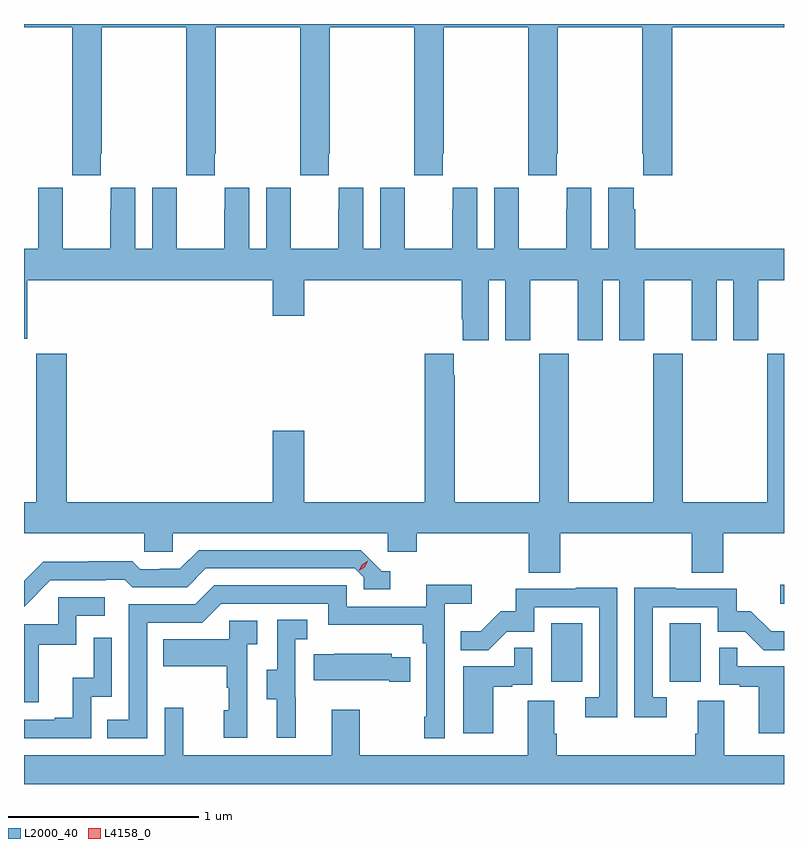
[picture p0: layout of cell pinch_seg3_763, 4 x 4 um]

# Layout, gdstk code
import gdstk
lib = gdstk.Library(unit=1e-6, precision=1e-09)
def R(c, l, rs):  # rectangles x0, y0, x1, y1
    for r in rs: c.add(gdstk.rectangle(r[:2], r[2:], *l))
def P(c, l, *ps):  # polygons
    for p in ps: c.add(gdstk.Polygon(p, *l))
L2000_40 = (2000, 40)
L4158_0 = (4158, 0)

pinch_seg3_763 = lib.new_cell('pinch_seg3_763')
R(pinch_seg3_763, L2000_40, [(813.824,742.758,813.988,743.065), (814.448,742.758,814.612,743.065), (815.031,743.168,815.05,743.27)])
P(pinch_seg3_763, L2000_40, [(813.103,745.537),(813.105,745.537),(813.105,745.425),(813.255,745.425),(813.255,745.537),(813.258,745.537),(813.258,746.204),(813.703,746.204),(813.703,745.537),(813.705,745.537),(813.705,745.425),(813.855,745.425),(813.855,745.537),(813.858,745.537),(813.858,746.204),(814.303,746.204),(814.303,745.537),(814.309,745.537),(814.309,745.425),(814.463,745.425),(814.463,746.204),(815.05,746.204),(815.05,746.22),(811.05,746.22),(811.05,746.204),(811.303,746.204),(811.303,745.537),(811.305,745.537),(811.305,745.425),(811.455,745.425),(811.455,745.537),(811.458,745.537),(811.458,746.204),(811.903,746.204),(811.903,745.537),(811.905,745.537),(811.905,745.425),(812.055,745.425),(812.055,745.537),(812.058,745.537),(812.058,746.204),(812.503,746.204),(812.503,745.537),(812.505,745.537),(812.505,745.425),(812.655,745.425),(812.655,745.537),(812.658,745.537),(812.658,746.204),(813.103,746.204)],
  [(813.496,744.872),(813.584,744.872),(813.584,744.555),(813.715,744.555),(813.715,744.872),(813.965,744.872),(813.965,744.555),(814.096,744.555),(814.096,744.872),(814.184,744.872),(814.184,744.555),(814.315,744.555),(814.315,744.872),(814.565,744.872),(814.565,744.555),(814.696,744.555),(814.696,744.872),(814.784,744.872),(814.784,744.555),(814.915,744.555),(814.915,744.872),(815.05,744.872),(815.05,745.036),(814.268,745.036),(814.268,745.244),(814.258,745.244),(814.258,745.357),(814.124,745.357),(814.124,745.036),(814.036,745.036),(814.036,745.357),(813.906,745.357),(813.906,745.244),(813.905,745.244),(813.905,745.036),(813.655,745.036),(813.655,745.244),(813.654,745.244),(813.654,745.357),(813.524,745.357),(813.524,745.036),(813.436,745.036),(813.436,745.357),(813.306,745.357),(813.306,745.244),(813.305,745.244),(813.305,745.036),(813.055,745.036),(813.055,745.244),(813.054,745.244),(813.054,745.357),(812.924,745.357),(812.924,745.036),(812.836,745.036),(812.836,745.357),(812.706,745.357),(812.706,745.244),(812.705,745.244),(812.705,745.036),(812.455,745.036),(812.455,745.244),(812.454,745.244),(812.454,745.357),(812.324,745.357),(812.324,745.036),(812.236,745.036),(812.236,745.357),(812.106,745.357),(812.106,745.244),(812.105,745.244),(812.105,745.036),(811.855,745.036),(811.855,745.244),(811.854,745.244),(811.854,745.357),(811.724,745.357),(811.724,745.036),(811.636,745.036),(811.636,745.357),(811.506,745.357),(811.506,745.244),(811.505,745.244),(811.505,745.036),(811.255,745.036),(811.255,745.244),(811.254,745.244),(811.254,745.357),(811.124,745.357),(811.124,745.036),(811.05,745.036),(811.05,744.563),(811.066,744.563),(811.066,744.872),(812.36,744.872),(812.36,744.684),(812.524,744.684),(812.524,744.872),(813.353,744.872),(813.353,744.667),(813.359,744.667),(813.359,744.555),(813.496,744.555)],
  [(813.872,743.54),(814.565,743.54),(814.565,743.332),(814.73,743.332),(814.73,743.54),(815.05,743.54),(815.05,744.484),(814.963,744.484),(814.963,743.704),(814.518,743.704),(814.518,744.484),(814.363,744.484),(814.363,743.704),(813.918,743.704),(813.918,744.484),(813.763,744.484),(813.763,743.704),(813.318,743.704),(813.318,744.371),(813.313,744.371),(813.313,744.484),(813.158,744.484),(813.158,743.704),(812.524,743.704),(812.524,744.079),(812.36,744.079),(812.36,743.704),(811.274,743.704),(811.274,744.484),(811.114,744.484),(811.114,743.704),(811.05,743.704),(811.05,743.54),(811.683,743.54),(811.683,743.442),(811.833,743.442),(811.833,743.54),(812.964,743.54),(812.964,743.442),(813.116,743.442),(813.116,743.54),(813.707,743.54),(813.707,743.332),(813.872,743.332)],
  [(811.188,743.292),(811.481,743.292),(811.481,743.295),(811.58,743.295),(811.619,743.256),(811.908,743.256),(812.007,743.355),(812.79,743.355),(812.838,743.307),(812.838,743.244),(812.977,743.244),(812.977,743.34),(812.934,743.34),(812.823,743.451),(811.97,743.451),(811.871,743.352),(811.764,743.352),(811.764,743.349),(811.661,743.349),(811.619,743.392),(811.386,743.392),(811.386,743.389),(811.15,743.389),(811.05,743.289),(811.05,743.154)],
  [(811.698,743.07),(811.989,743.07),(812.088,743.169),(812.652,743.169),(812.652,743.057),(813.148,743.057),(813.148,742.961),(813.168,742.961),(813.168,742.573),(813.156,742.573),(813.156,742.461),(813.264,742.461),(813.264,743.168),(813.406,743.168),(813.406,743.27),(813.167,743.27),(813.167,743.154),(812.748,743.154),(812.748,743.265),(812.051,743.265),(811.952,743.166),(811.602,743.166),(811.602,742.557),(811.489,742.557),(811.489,742.461),(811.698,742.461)],
  [(814.432,742.677),(814.359,742.677),(814.359,743.151),(814.701,743.151),(814.701,743.022),(814.845,743.022),(814.943,742.924),(815.05,742.924),(815.05,743.023),(814.983,743.023),(814.876,743.13),(814.8,743.13),(814.8,743.247),(814.481,743.247),(814.481,743.252),(814.263,743.252),(814.263,742.572),(814.432,742.572)],
  [(814.173,743.252),(813.955,743.252),(813.955,743.247),(813.637,743.247),(813.637,743.13),(813.56,743.13),(813.453,743.023),(813.349,743.023),(813.349,742.924),(813.493,742.924),(813.591,743.022),(813.735,743.022),(813.735,743.151),(814.077,743.151),(814.077,742.677),(814.005,742.677),(814.005,742.572),(814.173,742.572)],
  [(811.127,742.953),(811.326,742.953),(811.326,743.106),(811.474,743.106),(811.474,743.202),(811.23,743.202),(811.23,743.061),(811.05,743.061),(811.05,742.65),(811.127,742.65)],
  [(812.48,742.677),(812.478,742.677),(812.478,742.981),(812.542,742.981),(812.542,743.084),(812.382,743.084),(812.382,742.821),(812.327,742.821),(812.327,742.666),(812.381,742.666),(812.381,742.464),(812.48,742.464)],
  [(812.226,742.955),(812.278,742.955),(812.278,743.079),(812.13,743.079),(812.13,742.981),(811.783,742.981),(811.783,742.841),(812.118,742.841),(812.118,742.727),(812.128,742.727),(812.128,742.608),(812.102,742.608),(812.102,742.464),(812.226,742.464)],
  [(811.404,742.68),(811.512,742.68),(811.512,742.99),(811.416,742.99),(811.416,742.778),(811.307,742.778),(811.307,742.57),(811.211,742.57),(811.211,742.557),(811.05,742.557),(811.05,742.461),(811.404,742.461)],
  [(813.52,742.731),(813.62,742.731),(813.62,742.743),(813.726,742.743),(813.726,742.937),(813.631,742.937),(813.631,742.839),(813.362,742.839),(813.362,742.488),(813.52,742.488)],
  [(815.05,742.839),(814.805,742.839),(814.805,742.937),(814.71,742.937),(814.71,742.743),(814.817,742.743),(814.817,742.731),(814.916,742.731),(814.916,742.488),(815.05,742.488)],
  [(813.083,742.888),(812.985,742.888),(812.985,742.906),(812.683,742.906),(812.683,742.903),(812.575,742.903),(812.575,742.766),(812.972,742.766),(812.972,742.759),(813.083,742.759)],
  [(815.05,742.372),(814.735,742.372),(814.735,742.658),(814.595,742.658),(814.595,742.484),(814.583,742.484),(814.583,742.372),(813.854,742.372),(813.854,742.484),(813.841,742.484),(813.841,742.658),(813.701,742.658),(813.701,742.372),(812.817,742.372),(812.817,742.612),(812.669,742.612),(812.669,742.372),(811.889,742.372),(811.889,742.621),(811.791,742.621),(811.791,742.372),(811.05,742.372),(811.05,742.22),(815.05,742.22)])
P(pinch_seg3_763, L4158_0, [(812.813,743.342),(812.813,743.342),(812.828,743.375),(812.859,743.395),(812.859,743.395),(812.859,743.395),(812.844,743.362),(812.813,743.342)])

lib.write_gds('pinch_seg3_763.gds')
